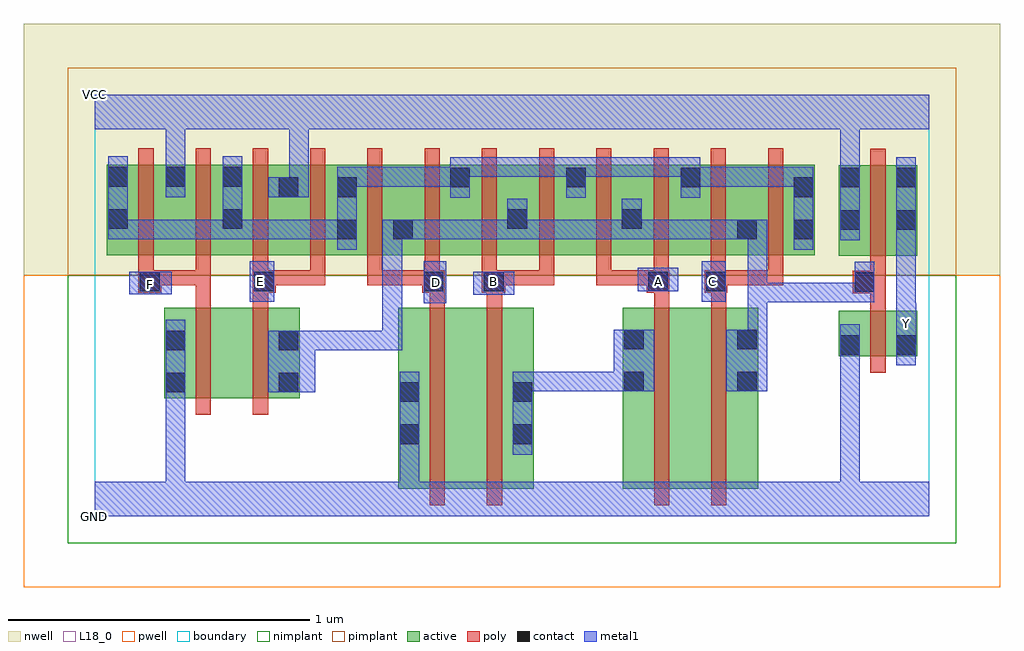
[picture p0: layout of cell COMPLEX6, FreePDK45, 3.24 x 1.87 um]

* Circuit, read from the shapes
.subckt COMPLEX6 A B C D E F GND VCC Y
M1 n1 F GND VSUBS nfet w=0.3u l=0.05u
M2 n2 E n1 VSUBS nfet w=0.3u l=0.05u
M3 n3 D GND VSUBS nfet w=0.6u l=0.05u
M4 n4 B n3 VSUBS nfet w=0.6u l=0.05u
M5 n5 A n4 VSUBS nfet w=0.6u l=0.05u
M6 n2 C n5 VSUBS nfet w=0.6u l=0.05u
M7 Y n2 GND VSUBS nfet w=0.15u l=0.05u
M8 VCC F n6 n7 pfet w=0.3u l=0.05u m=2
M9 VCC E n6 n7 pfet w=0.3u l=0.05u m=2
M10 n2 D n6 n7 pfet w=0.3u l=0.05u m=2
M11 n2 B n6 n7 pfet w=0.3u l=0.05u m=2
M12 n2 A n6 n7 pfet w=0.3u l=0.05u m=2
M13 n2 C n6 n7 pfet w=0.3u l=0.05u m=2
M14 Y n2 VCC n7 pfet w=0.3u l=0.05u
.ends

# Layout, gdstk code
import gdstk
lib = gdstk.Library(unit=1e-6, precision=1e-09)
def R(c, l, rs):  # rectangles x0, y0, x1, y1
    for r in rs: c.add(gdstk.rectangle(r[:2], r[2:], *l))
def A(c, l, x, y, w, h, nx, ny, dx, dy):  # array of equal rectangles
    R(c, l, [(x+i*dx, y+j*dy, x+i*dx+w, y+j*dy+h) for i in range(nx) for j in range(ny)])
active = (1, 0)
pwell = (2, 0)
nwell = (3, 0)
nimplant = (4, 0)
pimplant = (5, 0)
poly = (9, 0)
contact = (10, 0)
metal1 = (11, 0)
L18_0 = (18, 0)
boundary = (235, 0)

complex6 = lib.new_cell('COMPLEX6')
A(complex6, active, 0.04, 0.867, 0.075, 0.3, 3, 1, 0.19, 0)
R(complex6, active, [(1.007,0.092,1.232,0.692), (1.232,0.092,1.457,0.692), (1.752,0.092,1.977,0.692), (1.977,0.092,2.202,0.692), (1.007,0.145,1.082,0.692), (1.382,0.145,1.457,0.692), (1.752,0.145,1.857,0.692), (2.127,0.145,2.202,0.692), (0.23,0.392,0.305,0.692), (0.23,0.392,0.455,0.692), (0.455,0.392,0.68,0.692), (0.605,0.392,0.68,0.692), (2.47,0.532,2.545,0.682), (2.47,0.532,2.73,0.682), (2.655,0.532,2.73,0.682), (2.47,0.865,2.545,1.165), (2.47,0.865,2.73,1.165), (2.655,0.865,2.73,1.162), (0.04,0.867,0.305,1.167), (0.23,0.867,0.495,1.167), (0.42,0.867,0.68,1.167), (0.605,0.867,0.68,1.167), (0.605,0.867,0.875,1.167), (0.8,0.867,0.875,1.167), (0.8,0.867,1.06,1.167), (0.985,0.867,1.25,1.167), (1.175,0.867,1.44,1.167), (1.365,0.867,1.635,1.167), (1.56,0.867,1.635,1.167), (1.56,0.867,1.82,1.167), (1.745,0.867,2.015,1.167), (1.94,0.867,2.202,1.167), (2.127,0.867,2.39,1.167), (2.315,0.867,2.39,1.167), (0.985,0.915,1.06,1.07), (2.127,0.915,2.202,1.07), (1.365,0.95,1.44,1.07), (1.745,0.95,1.82,1.07), (1.175,0.995,1.25,1.167), (1.94,0.995,2.015,1.167)])
R(complex6, pwell, [(-0.235,-0.235,3.005,0.8)])
R(complex6, nwell, [(-0.235,0.8,3.005,1.635)])
R(complex6, nimplant, [(-0.09,-0.09,2.86,0.8)])
R(complex6, pimplant, [(-0.09,0.8,2.86,1.49)])
A(complex6, poly, 0.145, 0.767, 0.05, 0.095, 12, 1, 0.19, 0)
A(complex6, poly, 0.145, 0.812, 0.05, 0.41, 12, 1, 0.19, 0)
R(complex6, poly, [(1.112,0.037,1.162,0.747), (1.302,0.037,1.352,0.747), (1.857,0.037,1.907,0.747), (2.047,0.037,2.097,0.747), (0.335,0.337,0.385,0.747), (0.525,0.337,0.575,0.747), (2.575,0.477,2.625,0.737), (2.575,0.687,2.625,0.79), (0.335,0.697,0.385,0.817), (0.525,0.697,0.575,0.792), (1.112,0.697,1.162,0.792), (1.302,0.697,1.352,0.792), (1.857,0.697,1.907,0.792), (2.047,0.697,2.097,0.792), (2.517,0.74,2.625,0.815), (0.145,0.742,0.22,0.817), (0.525,0.742,0.6,0.817), (1.087,0.742,1.162,0.817), (1.285,0.742,1.362,0.817), (1.832,0.742,1.907,0.817), (2.025,0.742,2.1,0.817), (2.575,0.765,2.625,0.86), (0.17,0.767,0.22,0.817), (0.17,0.767,0.22,0.817), (0.17,0.767,0.385,0.817), (0.335,0.767,0.385,0.817), (0.55,0.767,0.6,0.817), (0.55,0.767,0.6,0.817), (0.55,0.767,0.765,0.817), (0.715,0.767,0.765,0.817), (0.905,0.767,0.955,0.817), (0.905,0.767,1.137,0.817), (1.087,0.767,1.137,0.817), (1.087,0.767,1.137,0.817), (1.312,0.767,1.525,0.817), (1.475,0.767,1.525,0.817), (1.475,0.767,1.525,0.817), (1.475,0.767,1.525,0.817), (1.665,0.767,1.715,0.817), (1.665,0.767,1.715,0.817), (1.665,0.767,1.715,0.817), (1.665,0.767,1.882,0.817), (2.05,0.767,2.285,0.817), (2.235,0.767,2.285,0.817), (2.235,0.767,2.285,0.817), (2.235,0.767,2.285,0.817), (2.575,0.81,2.625,1.22)])
A(complex6, contact, 0.045, 1.095, 0.065, 0.065, 3, 1, 0.19, 0)
R(complex6, contact, [(1.012,0.24,1.077,0.305), (1.387,0.24,1.452,0.305), (1.012,0.38,1.077,0.445), (1.387,0.38,1.452,0.445), (0.235,0.412,0.3,0.477), (0.61,0.412,0.675,0.477), (1.757,0.415,1.822,0.48), (2.132,0.415,2.197,0.48), (2.475,0.537,2.54,0.602), (2.66,0.537,2.725,0.602), (0.235,0.552,0.3,0.617), (0.61,0.552,0.675,0.617), (1.757,0.555,1.822,0.62), (2.132,0.555,2.197,0.62), (2.522,0.745,2.587,0.81), (0.15,0.747,0.215,0.812), (0.53,0.747,0.595,0.812), (1.092,0.747,1.157,0.812), (1.292,0.747,1.357,0.812), (1.837,0.747,1.902,0.812), (2.03,0.747,2.095,0.812), (0.805,0.92,0.87,0.985), (0.99,0.92,1.055,0.985), (2.132,0.92,2.197,0.985), (2.32,0.92,2.385,0.985), (2.475,0.952,2.54,1.017), (2.66,0.952,2.725,1.017), (0.045,0.955,0.11,1.02), (0.425,0.955,0.49,1.02), (1.37,0.955,1.435,1.02), (1.75,0.955,1.815,1.02), (0.61,1.06,0.675,1.125), (0.805,1.06,0.87,1.125), (2.32,1.06,2.385,1.125), (1.18,1.092,1.245,1.157), (1.565,1.092,1.63,1.157), (1.945,1.092,2.01,1.157), (2.475,1.092,2.54,1.157), (2.66,1.092,2.725,1.157)])
R(complex6, metal1, [(0,0,2.77,0.115), (0.235,0.05,0.3,0.115), (0.235,0.05,0.3,0.115), (0.235,0.05,0.3,0.115), (0.235,0.05,0.3,0.115), (0.235,0.05,0.3,0.115), (0.235,0.05,0.3,0.115), (0.235,0.05,0.3,0.442), (1.012,0.05,1.077,0.27), (2.475,0.05,2.54,0.115), (2.475,0.05,2.54,0.115), (2.475,0.05,2.54,0.115), (2.475,0.05,2.54,0.115), (2.475,0.05,2.54,0.567), (1.012,0.205,1.077,0.48), (1.012,0.205,1.077,0.27), (1.012,0.205,1.077,0.27), (1.387,0.205,1.452,0.48), (0.235,0.377,0.3,0.652), (0.575,0.412,0.732,0.617), (1.387,0.415,1.452,0.48), (1.387,0.415,1.452,0.48), (1.387,0.415,1.63,0.48), (1.565,0.415,1.63,0.48), (1.565,0.415,1.63,0.48), (1.565,0.415,1.63,0.48), (1.565,0.415,1.787,0.48), (1.722,0.415,1.857,0.62), (2.097,0.415,2.232,0.62), (2.475,0.502,2.54,0.567), (2.475,0.502,2.54,0.567), (2.475,0.502,2.54,0.567), (2.475,0.502,2.54,0.567), (2.475,0.502,2.54,0.637), (2.66,0.502,2.725,0.637), (0.667,0.552,0.732,0.617), (0.667,0.552,0.732,0.617), (0.667,0.552,0.732,0.617), (0.667,0.552,0.732,0.617), (0.667,0.552,0.882,0.617), (0.817,0.552,0.882,0.617), (0.817,0.552,0.882,0.617), (0.817,0.552,0.882,0.617), (0.817,0.552,1.02,0.617), (0.955,0.552,1.02,0.617), (0.955,0.552,1.02,0.985), (2.167,0.555,2.232,0.775), (2.66,0.572,2.725,0.637), (2.66,0.572,2.727,0.707), (2.66,0.642,2.725,0.982), (1.092,0.707,1.167,0.847), (2.167,0.71,2.232,0.985), (2.167,0.71,2.232,0.775), (2.167,0.71,2.385,0.775), (2.32,0.71,2.385,0.775), (2.32,0.71,2.385,0.775), (2.32,0.71,2.385,0.775), (2.32,0.71,2.587,0.775), (2.522,0.71,2.587,0.775), (2.522,0.71,2.587,0.775), (2.522,0.71,2.587,0.845), (0.515,0.712,0.595,0.847), (2.015,0.712,2.095,0.847), (1.257,0.735,1.392,0.812), (0.115,0.737,0.255,0.812), (1.802,0.747,1.937,0.825), (0.805,0.885,0.87,1.16), (2.32,0.885,2.385,1.16), (2.475,0.917,2.54,1.192), (2.66,0.917,2.725,1.192), (0.045,0.92,0.11,1.195), (0.045,0.92,0.11,0.985), (0.045,0.92,0.11,0.985), (0.045,0.92,0.352,0.985), (0.287,0.92,0.352,0.985), (0.287,0.92,0.352,0.985), (0.287,0.92,0.352,0.985), (0.287,0.92,0.49,0.985), (0.425,0.92,0.49,1.195), (0.425,0.92,0.49,0.985), (0.425,0.92,0.49,0.985), (0.425,0.92,0.732,0.985), (0.667,0.92,0.732,0.985), (0.667,0.92,0.732,0.985), (0.667,0.92,0.732,0.985), (0.667,0.92,0.87,0.985), (0.955,0.92,1.09,0.985), (1.025,0.92,1.09,0.985), (1.025,0.92,1.09,0.985), (1.025,0.92,1.297,0.985), (1.232,0.92,1.297,0.985), (1.232,0.92,1.297,0.985), (1.232,0.92,1.297,0.985), (1.232,0.92,1.435,0.985), (1.37,0.92,1.435,0.985), (1.37,0.92,1.435,0.985), (1.37,0.92,1.435,1.055), (1.37,0.92,1.65,0.985), (1.585,0.92,1.65,0.985), (1.585,0.92,1.65,0.985), (1.585,0.92,1.65,0.985), (1.585,0.92,1.815,0.985), (1.75,0.92,1.815,0.985), (1.75,0.92,1.815,0.985), (1.75,0.92,1.815,1.055), (1.75,0.92,2.025,0.985), (1.96,0.92,2.025,0.985), (1.96,0.92,2.025,0.985), (1.96,0.92,2.025,0.985), (1.96,0.92,2.162,0.985), (2.097,0.92,2.232,0.985), (1.18,1.057,1.245,1.192), (1.565,1.057,1.63,1.192), (1.945,1.057,2.01,1.192), (0.235,1.06,0.3,1.195), (0.575,1.06,0.71,1.125), (0.645,1.06,0.71,1.125), (0.645,1.06,0.71,1.125), (0.645,1.06,0.71,1.35), (0.805,1.095,0.87,1.16), (0.805,1.095,0.87,1.16), (0.805,1.095,0.87,1.16), (0.805,1.095,0.87,1.16), (0.805,1.095,1.107,1.16), (1.042,1.095,1.107,1.16), (1.042,1.095,1.107,1.16), (1.042,1.095,1.107,1.16), (1.042,1.095,1.245,1.16), (1.945,1.095,2.01,1.16), (1.945,1.095,2.01,1.16), (1.945,1.095,2.247,1.16), (2.182,1.095,2.247,1.16), (2.182,1.095,2.247,1.16), (2.182,1.095,2.247,1.16), (2.182,1.095,2.385,1.16), (1.18,1.127,1.245,1.192), (1.18,1.127,1.245,1.192), (1.18,1.127,1.492,1.192), (1.427,1.127,1.492,1.192), (1.427,1.127,1.492,1.192), (1.427,1.127,1.492,1.192), (1.427,1.127,1.63,1.192), (1.565,1.127,1.63,1.192), (1.565,1.127,1.63,1.192), (1.565,1.127,1.872,1.192), (1.807,1.127,1.872,1.192), (1.807,1.127,1.872,1.192), (1.807,1.127,1.872,1.192), (1.807,1.127,2.01,1.192), (2.475,1.127,2.54,1.192), (2.475,1.127,2.54,1.192), (2.475,1.127,2.54,1.35), (0.235,1.13,0.3,1.195), (0.235,1.13,0.3,1.195), (0.235,1.13,0.3,1.35), (0,1.285,2.77,1.4)])
R(complex6, L18_0, [(0,0,2.77,0.115), (0.235,0.05,0.3,0.115), (0.235,0.05,0.3,0.115), (0.235,0.05,0.3,0.115), (0.235,0.05,0.3,0.115), (0.235,0.05,0.3,0.115), (0.235,0.05,0.3,0.115), (0.235,0.05,0.3,0.442), (1.012,0.05,1.077,0.27), (2.475,0.05,2.54,0.115), (2.475,0.05,2.54,0.115), (2.475,0.05,2.54,0.115), (2.475,0.05,2.54,0.115), (2.475,0.05,2.54,0.567), (1.012,0.205,1.077,0.27), (1.012,0.205,1.077,0.27), (1.012,0.205,1.077,0.48), (0.235,0.377,0.3,0.652), (2.475,0.502,2.54,0.567), (2.475,0.502,2.54,0.567), (2.475,0.502,2.54,0.567), (2.475,0.502,2.54,0.567), (2.475,0.502,2.54,0.637), (2.66,0.502,2.725,0.637), (2.66,0.572,2.725,0.637), (2.66,0.572,2.727,0.707), (2.662,0.607,2.727,0.672), (2.66,0.642,2.725,0.982), (1.092,0.707,1.167,0.847), (0.515,0.712,0.595,0.847), (2.015,0.712,2.095,0.847), (1.257,0.735,1.392,0.812), (0.115,0.737,0.255,0.812), (0.152,0.737,0.217,0.802), (1.102,0.742,1.167,0.807), (0.517,0.747,0.582,0.812), (1.292,0.747,1.357,0.812), (1.802,0.747,1.937,0.825), (1.837,0.747,1.902,0.812), (2.017,0.747,2.082,0.812), (2.475,0.917,2.54,1.192), (2.66,0.917,2.725,1.192), (0.235,1.06,0.3,1.195), (0.575,1.06,0.71,1.125), (0.645,1.06,0.71,1.125), (0.645,1.06,0.71,1.125), (0.645,1.06,0.71,1.35), (2.475,1.127,2.54,1.192), (2.475,1.127,2.54,1.192), (2.475,1.127,2.54,1.35), (0.235,1.13,0.3,1.195), (0.235,1.13,0.3,1.195), (0.235,1.13,0.3,1.35), (0,1.285,2.77,1.4)])
R(complex6, boundary, [(0,0,2.77,1.4)])
complex6.add(gdstk.Label('A', (1.87,0.78), layer=11, texttype=0))
complex6.add(gdstk.Label('B', (1.325,0.78), layer=11, texttype=0))
complex6.add(gdstk.Label('C', (2.05,0.78), layer=11, texttype=0))
complex6.add(gdstk.Label('D', (1.135,0.775), layer=11, texttype=0))
complex6.add(gdstk.Label('E', (0.55,0.78), layer=11, texttype=0))
complex6.add(gdstk.Label('F', (0.185,0.77), layer=11, texttype=0))
complex6.add(gdstk.Label('Y', (2.695,0.64), layer=11, texttype=0))
complex6.add(gdstk.Label('VCC', (0,1.4), layer=11, texttype=0))
complex6.add(gdstk.Label('GND', (0,0), layer=11, texttype=0))

lib.write_gds('COMPLEX6.gds')
